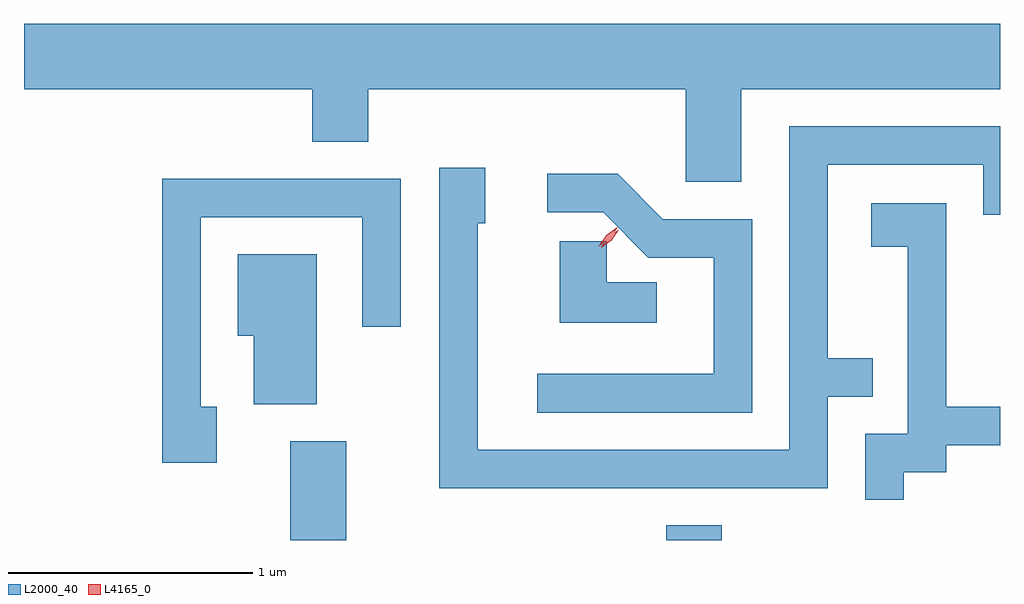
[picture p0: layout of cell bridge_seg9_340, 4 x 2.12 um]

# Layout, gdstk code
import gdstk
lib = gdstk.Library(unit=1e-6, precision=1e-09)
def R(c, l, rs):  # rectangles x0, y0, x1, y1
    for r in rs: c.add(gdstk.rectangle(r[:2], r[2:], *l))
def P(c, l, *ps):  # polygons
    for p in ps: c.add(gdstk.Polygon(p, *l))
L2000_40 = (2000, 40)
L4165_0 = (4165, 0)

bridge_seg9_340 = lib.new_cell('bridge_seg9_340')
R(bridge_seg9_340, L2000_40, [(848.141,1981.088,848.369,1981.494), (849.681,1981.088,849.909,1981.149)])
P(bridge_seg9_340, L2000_40, [(849.989,1982.936),(851.049,1982.936),(851.049,1983.204),(847.049,1983.204),(847.049,1982.936),(848.231,1982.936),(848.231,1982.721),(848.459,1982.721),(848.459,1982.936),(849.761,1982.936),(849.761,1982.556),(849.989,1982.556)],
  [(850.344,1981.676),(850.528,1981.676),(850.528,1981.834),(850.344,1981.834),(850.344,1982.626),(850.981,1982.626),(850.981,1982.421),(851.049,1982.421),(851.049,1982.784),(850.186,1982.784),(850.186,1981.459),(848.909,1981.459),(848.909,1982.386),(848.939,1982.386),(848.939,1982.614),(848.751,1982.614),(848.751,1981.301),(850.344,1981.301)],
  [(850.034,1982.404),(849.667,1982.404),(849.482,1982.589),(849.193,1982.589),(849.193,1982.431),(849.423,1982.431),(849.608,1982.246),(849.876,1982.246),(849.876,1981.769),(849.153,1981.769),(849.153,1981.611),(850.034,1981.611)],
  [(847.839,1981.634),(847.774,1981.634),(847.774,1982.411),(848.436,1982.411),(848.436,1981.963),(848.594,1981.963),(848.594,1982.569),(847.616,1982.569),(847.616,1981.406),(847.839,1981.406)],
  [(850.654,1981.366),(850.829,1981.366),(850.829,1981.476),(851.049,1981.476),(851.049,1981.634),(850.829,1981.634),(850.829,1982.469),(850.521,1982.469),(850.521,1982.291),(850.671,1982.291),(850.671,1981.524),(850.496,1981.524),(850.496,1981.253),(850.654,1981.253)],
  [(849.642,1982.146),(849.438,1982.146),(849.438,1982.312),(849.244,1982.312),(849.244,1981.978),(849.642,1981.978)],
  [(848.249,1982.259),(847.926,1982.259),(847.926,1981.926),(847.991,1981.926),(847.991,1981.646),(848.249,1981.646)])
P(bridge_seg9_340, L4165_0, [(849.404,1982.293),(849.404,1982.293),(849.435,1982.338),(849.48,1982.37),(849.48,1982.37),(849.48,1982.369),(849.45,1982.324),(849.405,1982.293)],
  [(849.414,1982.287),(849.414,1982.288),(849.443,1982.331),(849.486,1982.36),(849.487,1982.36),(849.487,1982.36),(849.457,1982.317),(849.415,1982.287)])

lib.write_gds('bridge_seg9_340.gds')
